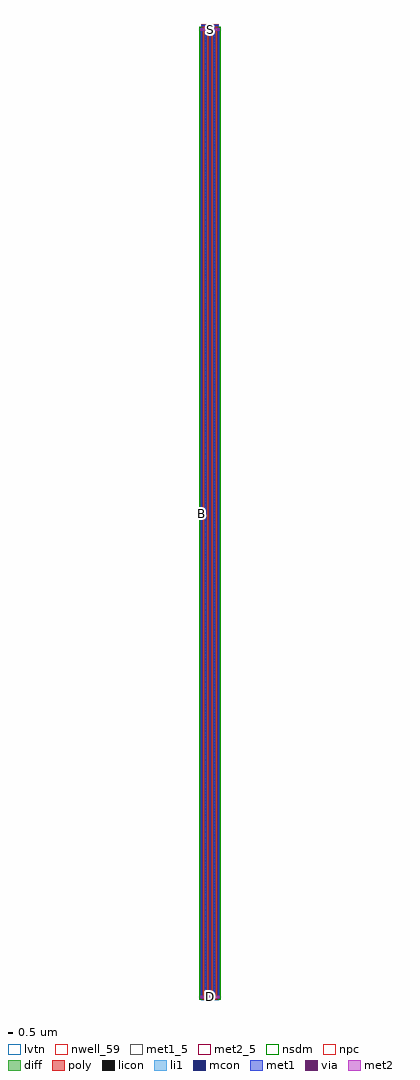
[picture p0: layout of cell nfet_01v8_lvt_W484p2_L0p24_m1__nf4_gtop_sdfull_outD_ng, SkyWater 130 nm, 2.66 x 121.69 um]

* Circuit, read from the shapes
.subckt nfet_01v8_lvt_W484p2_L0p24_m1__nf4_gtop_sdfull_outD_ng B D G S
XM1 S G D B sky130_fd_pr__nfet_01v8_lvt w=121.05 l=0.24 m=4
.ends

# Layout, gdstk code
import gdstk
lib = gdstk.Library(unit=1e-6, precision=1e-09)
def R(c, l, rs):  # rectangles x0, y0, x1, y1
    for r in rs: c.add(gdstk.rectangle(r[:2], r[2:], *l))
def A(c, l, x, y, w, h, nx, ny, dx, dy):  # array of equal rectangles
    R(c, l, [(x+i*dx, y+j*dy, x+i*dx+w, y+j*dy+h) for i in range(nx) for j in range(ny)])
nwell_59 = (64, 59)
diff = (65, 20)
poly = (66, 20)
licon = (66, 44)
li1 = (67, 20)
mcon = (67, 44)
met1_5 = (68, 5)
met1 = (68, 20)
via = (68, 44)
met2_5 = (69, 5)
met2 = (69, 20)
nsdm = (93, 44)
npc = (95, 20)
lvtn = (125, 44)

sky130_fd_pr__nfet_01v8_ = lib.new_cell('sky130_fd_pr__nfet_01v8_lvt_GGG5MZ')
R(sky130_fd_pr__nfet_01v8_, diff, [(-1.205,-60.68,1.205,60.37)])
A(sky130_fd_pr__nfet_01v8_, poly, -0.915, -60.81, 0.24, 121.29, 4, 1, 0.53, 0)
R(sky130_fd_pr__nfet_01v8_, poly, [(-1.06,60.48,1.06,60.81)])
A(sky130_fd_pr__nfet_01v8_, licon, -1.145, -60.59, 0.17, 0.17, 5, 356, 0.53, 0.34)
A(sky130_fd_pr__nfet_01v8_, licon, -0.88, 60.56, 0.17, 0.17, 4, 1, 0.53, 0)
A(sky130_fd_pr__nfet_01v8_, li1, -1.145, -60.7, 0.17, 121.09, 5, 1, 0.53, 0)
R(sky130_fd_pr__nfet_01v8_, li1, [(-1.06,60.56,1.06,60.73)])
A(sky130_fd_pr__nfet_01v8_, mcon, -1.145, -60.54, 0.17, 0.17, 5, 336, 0.53, 0.36)
A(sky130_fd_pr__nfet_01v8_, mcon, -0.88, 60.56, 0.17, 0.17, 4, 1, 0.53, 0)
A(sky130_fd_pr__nfet_01v8_, met1, -1.175, -60.68, 0.23, 121.05, 5, 1, 0.53, 0)
A(sky130_fd_pr__nfet_01v8_, met1, -0.94, 60.53, 0.29, 0.03, 4, 2, 0.53, 0.2)
R(sky130_fd_pr__nfet_01v8_, met1, [(-1.06,60.56,1.06,60.73)])
R(sky130_fd_pr__nfet_01v8_, nsdm, [(-1.33,-60.805,1.33,60.495)])
R(sky130_fd_pr__nfet_01v8_, npc, [(-0.98,60.46,0.98,60.83)])
R(sky130_fd_pr__nfet_01v8_, lvtn, [(-1.095,-60.86,1.095,60.55)])
sky130_fd_pr__nfet_01v8_.add(gdstk.Label('D0', (-1.06,-0.155), layer=67, texttype=5))
sky130_fd_pr__nfet_01v8_.add(gdstk.Label('G', (0.795,60.645), layer=67, texttype=5))
sky130_fd_pr__nfet_01v8_.add(gdstk.Label('G', (0.265,60.645), layer=67, texttype=5))
sky130_fd_pr__nfet_01v8_.add(gdstk.Label('G', (-0.265,60.645), layer=67, texttype=5))
sky130_fd_pr__nfet_01v8_.add(gdstk.Label('G', (-0.795,60.645), layer=67, texttype=5))
sky130_fd_pr__nfet_01v8_.add(gdstk.Label('S1', (-0.53,-0.155), layer=67, texttype=5))
sky130_fd_pr__nfet_01v8_.add(gdstk.Label('D2', (0,-0.155), layer=67, texttype=5))
sky130_fd_pr__nfet_01v8_.add(gdstk.Label('S3', (0.53,-0.155), layer=67, texttype=5))

nfet_01v8_lvt_w484p2_l0p = lib.new_cell('nfet_01v8_lvt_W484p2_L0p24_m1__nf4_gtop_sdfull_outD_ng')
R(nfet_01v8_lvt_w484p2_l0p, nwell_59, [(0.05,60.605,0.15,60.705)])
R(nfet_01v8_lvt_w484p2_l0p, met1_5, [(0.145,121.34,2.265,121.57)])
A(nfet_01v8_lvt_w484p2_l0p, met1, 0.015, 0.18, 0.26, 0.32, 3, 1, 1.06, 0)
R(nfet_01v8_lvt_w484p2_l0p, met1, [(0.545,120.81,0.805,121.13), (1.605,120.81,1.865,121.13), (0.145,121.34,2.265,121.57)])
A(nfet_01v8_lvt_w484p2_l0p, via, 0.07, 0.265, 0.15, 0.15, 3, 1, 1.06, 0)
R(nfet_01v8_lvt_w484p2_l0p, via, [(0.6,120.895,0.75,121.045), (1.66,120.895,1.81,121.045)])
R(nfet_01v8_lvt_w484p2_l0p, met2_5, [(0.01,0.18,2.4,0.5), (0.01,120.81,2.4,121.13)])
R(nfet_01v8_lvt_w484p2_l0p, met2, [(0.01,0.18,2.4,0.5), (0.01,120.81,2.4,121.13)])
nfet_01v8_lvt_w484p2_l0p.add(gdstk.Reference(sky130_fd_pr__nfet_01v8_, (1.205,60.81)))
nfet_01v8_lvt_w484p2_l0p.add(gdstk.Label('S', (1.205,120.97), layer=69, texttype=5))
nfet_01v8_lvt_w484p2_l0p.add(gdstk.Label('D', (1.205,0.34), layer=69, texttype=5))
nfet_01v8_lvt_w484p2_l0p.add(gdstk.Label('G', (1.205,121.455), layer=68, texttype=5))
nfet_01v8_lvt_w484p2_l0p.add(gdstk.Label('B', (0.1,60.655), layer=64, texttype=59))

lib.write_gds('nfet_01v8_lvt_W484p2_L0p24_m1__nf4_gtop_sdfull_outD_ng.gds')
